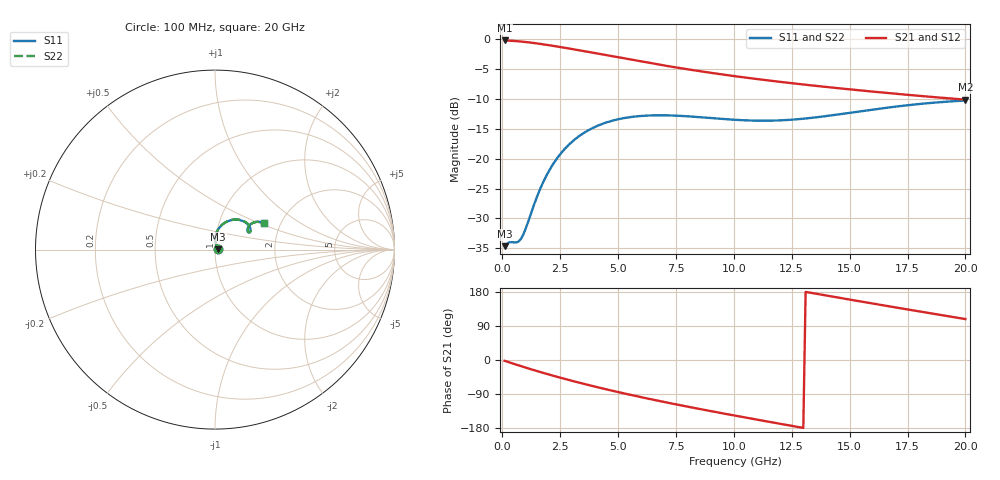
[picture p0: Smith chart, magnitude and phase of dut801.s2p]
! Touchstone file exported from HFSS 2024.1.0
!  File:  C:/UserFiles/LocalFiles/RDL_TSV_Batchsim/temp_RDL_TSV_801_1779910430.aedt
!  Generated:  03:48:11 AM May 28, 2026
!  Design:  RDL_TSV
!  Project:  temp_RDL_TSV_801_1779910430
!  Setup:  Setup1
!  Solution:  Sweep
! Variables:
!  dtsv = 13.91um
!  hbump = 3um
!  htsv = 54.11um
!  ldown = 414.43um
!  lrdl = 677.68um
!  p = 40
!  p1 = 40.97um
!  rhole = 10um
!  subl = 3954.01um
!  t = 450um
!  tdown = 4.15um
!  trdl = 4.46um
!  viad = 10um
!  wdown = 13.12um
!  wrdl = 21.72um
!  xbump = 18um
# GHz S MA R 50.000000
! Terminal data exported
! Port[1] = TM1_1_T1
! Port[2] = TM1_4_T1
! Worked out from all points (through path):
!   200 points, 100 MHz to 20 GHz, reference 50 ohm
!   highest |S21| = -0.16 dB at 100 MHz (marker M1); lowest = -10.1 dB at 20 GHz (marker M2)
!   group delay of S21, straight-line fit = 33.4 ps
!   lowest |S11| = -34.7 dB at 100 MHz (marker M3), VSWR 1.04, Z = 51.9 + j0.281 ohm
!   |S11| at or under -10 dB: start of sweep to end of sweep
!   |S22| runs from -34.7 to -10.2 dB; largest |S21 - S12| = 9e-15
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0.1  0.0185 8.4  0.9813 -2.1  0.9813 -2.1  0.0185 8.4
! Gamma 0 0 0 0
! Port Impedance 50 0 50 0
0.3  0.01991 19.0  0.9773 -6.2  0.9773 -6.2  0.0199 19.0
0.6  0.01988 36.6  0.9688 -12.1  0.9688 -12.1  0.01986 36.7
0.8  0.02123 53.7  0.9614 -16.0  0.9614 -16.0  0.02122 53.9
1  0.02563 69.7  0.9527 -19.9  0.9527 -19.9  0.02565 70.0
1.5  0.0481 87.3  0.9265 -29.2  0.9265 -29.2  0.04827 87.6
1.8  0.06569 88.3  0.9088 -34.6  0.9088 -34.6  0.06595 88.5
2.2  0.09057 85.4  0.8839 -41.5  0.8839 -41.5  0.09096 85.6
2.6  0.1151 80.7  0.8583 -48.3  0.8583 -48.3  0.1157 80.9
3.5  0.1636 68.4  0.8003 -62.6  0.8003 -62.6  0.1645 68.6
4.2  0.1921 59.4  0.7564 -73.2  0.7564 -73.2  0.1932 59.6
4.9  0.2121 51.3  0.7144 -83.2  0.7144 -83.2  0.2134 51.5
5.8  0.2267 42.6  0.6643 -95.5  0.6643 -95.5  0.2283 42.8
6.8  0.2315 35.2  0.6143 -108.4  0.6143 -108.4  0.2334 35.3
8.4  0.2242 28.1  0.5471 -127.8  0.5471 -127.8  0.2264 28.2
10.1  0.2118 26.8  0.4907 -147.4  0.4907 -147.4  0.2142 26.8
11.7  0.2089 29.7  0.4483 -165.1  0.4483 -165.1  0.2111 29.6
13.4  0.2208 33.7  0.4113 176.5  0.4113 176.5  0.2227 33.5
15.1  0.2443 35.5  0.3801 158.4  0.3801 158.4  0.2459 35.2
16.7  0.2693 34.6  0.3549 141.7  0.3549 141.7  0.2708 34.4
18.3  0.2914 32.0  0.333 125.2  0.333 125.2  0.2927 31.8
20  0.3079 28.4  0.3131 108.0  0.3131 108.0  0.3091 28.2
